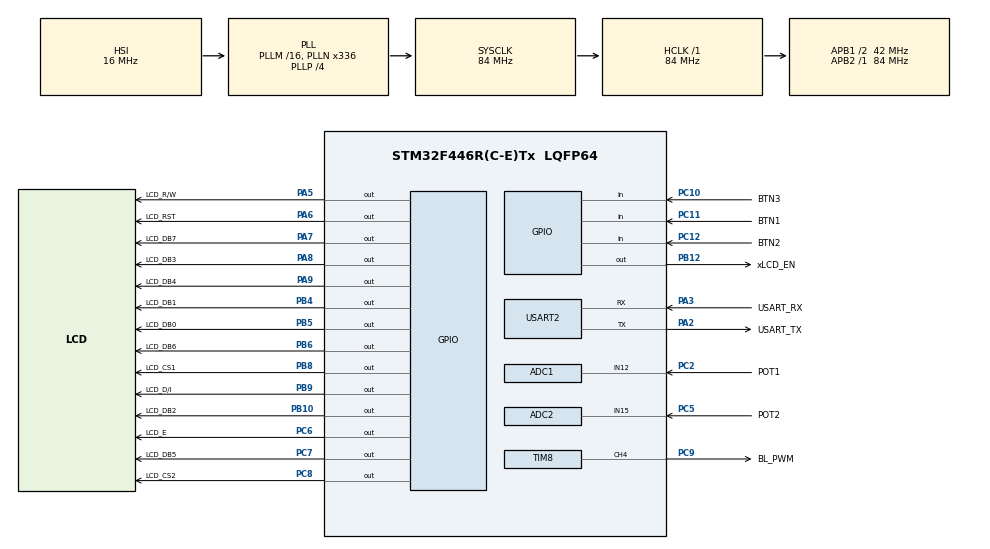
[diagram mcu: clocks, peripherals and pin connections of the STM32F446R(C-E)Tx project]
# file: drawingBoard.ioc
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ADC1.Channel-5\#ChannelRegularConversion=ADC_CHANNEL_12
ADC1.NbrOfConversionFlag=1
ADC1.Rank-5\#ChannelRegularConversion=1
ADC1.SamplingTime-5\#ChannelRegularConversion=ADC_SAMPLETIME_3CYCLES
ADC1.master=1
ADC2.Channel-1\#ChannelRegularConversion=ADC_CHANNEL_15
ADC2.NbrOfConversionFlag=1
ADC2.Rank-1\#ChannelRegularConversion=1
ADC2.SamplingTime-1\#ChannelRegularConversion=ADC_SAMPLETIME_3CYCLES
Mcu.Family=STM32F4
Mcu.Name=STM32F446R(C-E)Tx
Mcu.Package=LQFP64
NVIC.PriorityGroup=NVIC_PRIORITYGROUP_0
PA13.GPIO_Label=TMS
PA13.Mode=Serial_Wire
PA13.Signal=SYS_JTMS-SWDIO
PA14.GPIO_Label=TCK
PA14.Mode=Serial_Wire
PA14.Signal=SYS_JTCK-SWCLK
PA2.GPIO_Label=USART_TX
PA2.Mode=Asynchronous
PA2.Signal=USART2_TX
PA3.GPIO_Label=USART_RX
PA3.Mode=Asynchronous
PA3.Signal=USART2_RX
PA5.GPIO_Label=LCD_R/W
PA5.Signal=GPIO_Output
PA6.GPIO_Label=LCD_RST
PA6.Signal=GPIO_Output
PA7.GPIO_Label=LCD_DB7
PA7.Signal=GPIO_Output
PA8.GPIO_Label=LCD_DB3
PA8.Signal=GPIO_Output
PA9.GPIO_Label=LCD_DB4
PA9.Signal=GPIO_Output
PB10.GPIO_Label=LCD_DB2
PB10.Signal=GPIO_Output
PB12.GPIO_Label=xLCD_EN
PB12.Signal=GPIO_Output
PB3.GPIO_Label=SWO
PB3.Signal=SYS_JTDO-SWO
PB4.GPIO_Label=LCD_DB1
PB4.Signal=GPIO_Output
PB5.GPIO_Label=LCD_DB0
PB5.Signal=GPIO_Output
PB6.GPIO_Label=LCD_DB6
PB6.Signal=GPIO_Output
PB8.GPIO_Label=LCD_CS1
PB8.Signal=GPIO_Output
PB9.GPIO_Label=LCD_D/I
PB9.Signal=GPIO_Output
PC10.GPIO_Label=BTN3
PC10.Signal=GPIO_Input
PC11.GPIO_Label=BTN1
PC11.Signal=GPIO_Input
PC12.GPIO_Label=BTN2
PC12.Signal=GPIO_Input
PC14-OSC32_IN.Mode=LSE-External-Oscillator
PC14-OSC32_IN.Signal=RCC_OSC32_IN
PC15-OSC32_OUT.Mode=LSE-External-Oscillator
PC15-OSC32_OUT.Signal=RCC_OSC32_OUT
PC2.GPIO_Label=POT1
PC2.Signal=ADCx_IN12
PC5.GPIO_Label=POT2
PC5.Signal=ADCx_IN15
PC6.GPIO_Label=LCD_E
PC6.Signal=GPIO_Output
PC7.GPIO_Label=LCD_DB5
PC7.Signal=GPIO_Output
PC8.GPIO_Label=LCD_CS2
PC8.Signal=GPIO_Output
PC9.GPIO_Label=BL_PWM
PC9.Signal=S_TIM8_CH4
PH0-OSC_IN.Mode=HSE-External-Oscillator
PH0-OSC_IN.Signal=RCC_OSC_IN
PH1-OSC_OUT.Mode=HSE-External-Oscillator
PH1-OSC_OUT.Signal=RCC_OSC_OUT
ProjectManager.HeapSize=0x200
ProjectManager.StackSize=0x400
ProjectManager.TargetToolchain=STM32CubeIDE
RCC.48MHZClocksFreq_Value=84000000
RCC.AHBFreq_Value=84000000
RCC.APB1CLKDivider=RCC_HCLK_DIV2
RCC.APB1Freq_Value=42000000
RCC.APB1TimFreq_Value=84000000
RCC.APB2Freq_Value=84000000
RCC.APB2TimFreq_Value=84000000
RCC.CortexFreq_Value=84000000
RCC.FLatency-AdvancedSettings=FLASH_LATENCY_2
RCC.HCLKFreq_Value=84000000
RCC.HSE_VALUE=8000000
RCC.HSI_VALUE=16000000
RCC.PLLN=336
RCC.PLLP=RCC_PLLP_DIV4
RCC.SYSCLKFreq_VALUE=84000000
RCC.SYSCLKSource=RCC_SYSCLKSOURCE_PLLCLK
RCC.USBFreq_Value=168000000
RCC.VCOOutputFreq_Value=336000000
SH.ADCx_IN12.0=ADC1_IN12,IN12
SH.ADCx_IN15.0=ADC2_IN15,IN15
SH.S_TIM8_CH4.0=TIM8_CH4,PWM Generation4 CH4
TIM8.AutoReloadPreload=TIM_AUTORELOAD_PRELOAD_ENABLE
TIM8.Channel-PWM\ Generation4\ CH4=TIM_CHANNEL_4
USART2.VirtualMode=VM_ASYNC
VP_TIM8_VS_ClockSourceINT.Mode=Internal
board=NUCLEO-F446RE

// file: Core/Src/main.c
/* USER CODE BEGIN Header */
/**
 ******************************************************************************
 * @file           : main.c
 * @brief          : Main program body
 ******************************************************************************
 * @attention
 *
 * Copyright (c) 2023 STMicroelectronics.
 * All rights reserved.
 *
 * This software is licensed under terms that can be found in the LICENSE file
 * in the root directory of this software component.
 * If no LICENSE file comes with this software, it is provided AS-IS.
 *
 ******************************************************************************
 */
/* USER CODE END Header */
#include "main.h"

/* USER CODE BEGIN Includes */
#include "RG12864B.h"
#include "stm32f4xx_hal.h"
#include "stm32f4xx_hal_adc.h"
/* USER CODE END Includes */

ADC_HandleTypeDef hadc1;
ADC_HandleTypeDef hadc2;

TIM_HandleTypeDef htim8;

UART_HandleTypeDef huart2;

void SystemClock_Config(void);
static void MX_GPIO_Init(void);
static void MX_ADC1_Init(void);
static void MX_ADC2_Init(void);
static void MX_USART2_UART_Init(void);
static void MX_TIM8_Init(void);

int main(void) {

    /* MCU
     * Configuration--------------------------------------------------------*/

    /* Reset of all peripherals, Initializes the Flash interface and the
     * Systick. */
    HAL_Init();

    /* Configure the system clock */
    SystemClock_Config();

    /* Initialize all configured peripherals */
    MX_GPIO_Init();
    MX_ADC1_Init();
    MX_ADC2_Init();
    MX_USART2_UART_Init();
    MX_TIM8_Init();
    /* USER CODE BEGIN 2 */

    // LCD_Test();
    HAL_TIM_PWM_Start(&htim8, TIM_CHANNEL_4);
    TIM8->CCR4 = 1000; // LCD brightness
    LCD_Init();
    /* USER CODE END 2 */

    /* Infinite loop */
    /* USER CODE BEGIN WHILE */
    int x0, x1, y0, y1;
    LCD_DrawString("Finished\nerasing 1 pages of 16384 (0x4000) bytes", 0, 0);
    while (1) {
        HAL_ADC_Start(&hadc1);
        HAL_ADC_PollForConversion(&hadc1, 0);
        HAL_ADC_Stop(&hadc1);

        HAL_ADC_Start(&hadc2);
        HAL_ADC_PollForConversion(&hadc2, 0);
        HAL_ADC_Stop(&hadc2);

        x0 = ~(HAL_ADC_GetValue(&hadc1) >> 5) & 0x7f;
        y0 = HAL_ADC_GetValue(&hadc2) >> 6;

        // LCD_Clear();
        //if (x0 == x1 && y0 == y1) {
        //    HAL_Delay(50);
        //    LCD_TogglePixel(x0, y0);
        //} else {
            LCD_SetPixel(x0, y0);
        //}
        //x1 = x0;
        //y1 = y0;
        /* USER CODE END WHILE */

    }
}

void SystemClock_Config(void) {
    RCC_OscInitTypeDef RCC_OscInitStruct = {0};
    RCC_ClkInitTypeDef RCC_ClkInitStruct = {0};

    /** Configure the main internal regulator output voltage
     */
    __HAL_RCC_PWR_CLK_ENABLE();
    __HAL_PWR_VOLTAGESCALING_CONFIG(PWR_REGULATOR_VOLTAGE_SCALE3);

    /** Initializes the RCC Oscillators according to the specified parameters
     * in the RCC_OscInitTypeDef structure.
     */
    RCC_OscInitStruct.OscillatorType = RCC_OSCILLATORTYPE_HSI;
    RCC_OscInitStruct.HSIState = RCC_HSI_ON;
    RCC_OscInitStruct.HSICalibrationValue = RCC_HSICALIBRATION_DEFAULT;
    RCC_OscInitStruct.PLL.PLLState = RCC_PLL_ON;
    RCC_OscInitStruct.PLL.PLLSource = RCC_PLLSOURCE_HSI;
    RCC_OscInitStruct.PLL.PLLM = 16;
    RCC_OscInitStruct.PLL.PLLN = 336;
    RCC_OscInitStruct.PLL.PLLP = RCC_PLLP_DIV4;
    RCC_OscInitStruct.PLL.PLLQ = 2;
    RCC_OscInitStruct.PLL.PLLR = 2;
    if (HAL_RCC_OscConfig(&RCC_OscInitStruct) != HAL_OK) {
        Error_Handler();
    }

    /** Initializes the CPU, AHB and APB buses clocks
     */
    RCC_ClkInitStruct.ClockType = RCC_CLOCKTYPE_HCLK | RCC_CLOCKTYPE_SYSCLK |
                                  RCC_CLOCKTYPE_PCLK1 | RCC_CLOCKTYPE_PCLK2;
    RCC_ClkInitStruct.SYSCLKSource = RCC_SYSCLKSOURCE_PLLCLK;
    RCC_ClkInitStruct.AHBCLKDivider = RCC_SYSCLK_DIV1;
    RCC_ClkInitStruct.APB1CLKDivider = RCC_HCLK_DIV2;
    RCC_ClkInitStruct.APB2CLKDivider = RCC_HCLK_DIV1;

    if (HAL_RCC_ClockConfig(&RCC_ClkInitStruct, FLASH_LATENCY_2) != HAL_OK) {
        Error_Handler();
    }
}

static void MX_ADC1_Init(void) {

    ADC_ChannelConfTypeDef sConfig = {0};

    /** Configure the global features of the ADC (Clock, Resolution, Data
     * Alignment and number of conversion)
     */
    hadc1.Instance = ADC1;
    hadc1.Init.ClockPrescaler = ADC_CLOCK_SYNC_PCLK_DIV4;
    hadc1.Init.Resolution = ADC_RESOLUTION_12B;
    hadc1.Init.ScanConvMode = DISABLE;
    hadc1.Init.ContinuousConvMode = DISABLE;
    hadc1.Init.DiscontinuousConvMode = DISABLE;
    hadc1.Init.ExternalTrigConvEdge = ADC_EXTERNALTRIGCONVEDGE_NONE;
    hadc1.Init.ExternalTrigConv = ADC_SOFTWARE_START;
    hadc1.Init.DataAlign = ADC_DATAALIGN_RIGHT;
    hadc1.Init.NbrOfConversion = 1;
    hadc1.Init.DMAContinuousRequests = DISABLE;
    hadc1.Init.EOCSelection = ADC_EOC_SINGLE_CONV;
    if (HAL_ADC_Init(&hadc1) != HAL_OK) {
        Error_Handler();
    }

    /** Configure for the selected ADC regular channel its corresponding rank in
     * the sequencer and its sample time.
     */
    sConfig.Channel = ADC_CHANNEL_12;
    sConfig.Rank = 1;
    sConfig.SamplingTime = ADC_SAMPLETIME_3CYCLES;
    if (HAL_ADC_ConfigChannel(&hadc1, &sConfig) != HAL_OK) {
        Error_Handler();
    }
}

static void MX_ADC2_Init(void) {

    ADC_ChannelConfTypeDef sConfig = {0};

    /** Configure the global features of the ADC (Clock, Resolution, Data
     * Alignment and number of conversion)
     */
    hadc2.Instance = ADC2;
    hadc2.Init.ClockPrescaler = ADC_CLOCK_SYNC_PCLK_DIV4;
    hadc2.Init.Resolution = ADC_RESOLUTION_12B;
    hadc2.Init.ScanConvMode = DISABLE;
    hadc2.Init.ContinuousConvMode = DISABLE;
    hadc2.Init.DiscontinuousConvMode = DISABLE;
    hadc2.Init.ExternalTrigConvEdge = ADC_EXTERNALTRIGCONVEDGE_NONE;
    hadc2.Init.ExternalTrigConv = ADC_SOFTWARE_START;
    hadc2.Init.DataAlign = ADC_DATAALIGN_RIGHT;
    hadc2.Init.NbrOfConversion = 1;
    hadc2.Init.DMAContinuousRequests = DISABLE;
    hadc2.Init.EOCSelection = ADC_EOC_SINGLE_CONV;
    if (HAL_ADC_Init(&hadc2) != HAL_OK) {
        Error_Handler();
    }

    /** Configure for the selected ADC regular channel its corresponding rank in
     * the sequencer and its sample time.
     */
    sConfig.Channel = ADC_CHANNEL_15;
    sConfig.Rank = 1;
    sConfig.SamplingTime = ADC_SAMPLETIME_3CYCLES;
    if (HAL_ADC_ConfigChannel(&hadc2, &sConfig) != HAL_OK) {
        Error_Handler();
    }
}

static void MX_TIM8_Init(void) {

    TIM_ClockConfigTypeDef sClockSourceConfig = {0};
    TIM_MasterConfigTypeDef sMasterConfig = {0};
    TIM_OC_InitTypeDef sConfigOC = {0};
    TIM_BreakDeadTimeConfigTypeDef sBreakDeadTimeConfig = {0};

    htim8.Instance = TIM8;
    htim8.Init.Prescaler = 0;
    htim8.Init.CounterMode = TIM_COUNTERMODE_UP;
    htim8.Init.Period = 65535;
    htim8.Init.ClockDivision = TIM_CLOCKDIVISION_DIV1;
    htim8.Init.RepetitionCounter = 0;
    htim8.Init.AutoReloadPreload = TIM_AUTORELOAD_PRELOAD_ENABLE;
    if (HAL_TIM_Base_Init(&htim8) != HAL_OK) {
        Error_Handler();
    }
    sClockSourceConfig.ClockSource = TIM_CLOCKSOURCE_INTERNAL;
    if (HAL_TIM_ConfigClockSource(&htim8, &sClockSourceConfig) != HAL_OK) {
        Error_Handler();
    }
    if (HAL_TIM_PWM_Init(&htim8) != HAL_OK) {
        Error_Handler();
    }
    sMasterConfig.MasterOutputTrigger = TIM_TRGO_RESET;
    sMasterConfig.MasterSlaveMode = TIM_MASTERSLAVEMODE_DISABLE;
    if (HAL_TIMEx_MasterConfigSynchronization(&htim8, &sMasterConfig) !=
        HAL_OK) {
        Error_Handler();
    }
    sConfigOC.OCMode = TIM_OCMODE_PWM1;
    sConfigOC.Pulse = 0;
    sConfigOC.OCPolarity = TIM_OCPOLARITY_HIGH;
    sConfigOC.OCFastMode = TIM_OCFAST_DISABLE;
    sConfigOC.OCIdleState = TIM_OCIDLESTATE_RESET;
    sConfigOC.OCNIdleState = TIM_OCNIDLESTATE_RESET;
    if (HAL_TIM_PWM_ConfigChannel(&htim8, &sConfigOC, TIM_CHANNEL_4) !=
        HAL_OK) {
        Error_Handler();
    }
    sBreakDeadTimeConfig.OffStateRunMode = TIM_OSSR_DISABLE;
    sBreakDeadTimeConfig.OffStateIDLEMode = TIM_OSSI_DISABLE;
    sBreakDeadTimeConfig.LockLevel = TIM_LOCKLEVEL_OFF;
    sBreakDeadTimeConfig.DeadTime = 0;
    sBreakDeadTimeConfig.BreakState = TIM_BREAK_DISABLE;
    sBreakDeadTimeConfig.BreakPolarity = TIM_BREAKPOLARITY_HIGH;
    sBreakDeadTimeConfig.AutomaticOutput = TIM_AUTOMATICOUTPUT_DISABLE;
    if (HAL_TIMEx_ConfigBreakDeadTime(&htim8, &sBreakDeadTimeConfig) !=
        HAL_OK) {
        Error_Handler();
    }
    HAL_TIM_MspPostInit(&htim8);
}

static void MX_USART2_UART_Init(void) {

    huart2.Instance = USART2;
    huart2.Init.BaudRate = 115200;
    huart2.Init.WordLength = UART_WORDLENGTH_8B;
    huart2.Init.StopBits = UART_STOPBITS_1;
    huart2.Init.Parity = UART_PARITY_NONE;
    huart2.Init.Mode = UART_MODE_TX_RX;
    huart2.Init.HwFlowCtl = UART_HWCONTROL_NONE;
    huart2.Init.OverSampling = UART_OVERSAMPLING_16;
    if (HAL_UART_Init(&huart2) != HAL_OK) {
        Error_Handler();
    }
}

static void MX_GPIO_Init(void) {
    GPIO_InitTypeDef GPIO_InitStruct = {0};

    /* GPIO Ports Clock Enable */
    __HAL_RCC_GPIOC_CLK_ENABLE();
    __HAL_RCC_GPIOH_CLK_ENABLE();
    __HAL_RCC_GPIOA_CLK_ENABLE();
    __HAL_RCC_GPIOB_CLK_ENABLE();

    /*Configure GPIO pin Output Level */
    HAL_GPIO_WritePin(
        GPIOA,
        LCD_R_W_Pin | LCD_RST_Pin | LCD_DB7_Pin | LCD_DB3_Pin | LCD_DB4_Pin,
        GPIO_PIN_RESET);

    /*Configure GPIO pin Output Level */
    HAL_GPIO_WritePin(GPIOB,
                      LCD_DB2_Pin | xLCD_EN_Pin | LCD_DB1_Pin | LCD_DB0_Pin |
                          LCD_DB6_Pin | LCD_CS1_Pin | LCD_D_I_Pin,
                      GPIO_PIN_RESET);

    /*Configure GPIO pin Output Level */
    HAL_GPIO_WritePin(GPIOC, LCD_E_Pin | LCD_DB5_Pin | LCD_CS2_Pin,
                      GPIO_PIN_RESET);

    /*Configure GPIO pins : LCD_R_W_Pin LCD_RST_Pin LCD_DB7_Pin LCD_DB3_Pin
                             LCD_DB4_Pin */
    GPIO_InitStruct.Pin =
        LCD_R_W_Pin | LCD_RST_Pin | LCD_DB7_Pin | LCD_DB3_Pin | LCD_DB4_Pin;
    GPIO_InitStruct.Mode = GPIO_MODE_OUTPUT_PP;
    GPIO_InitStruct.Pull = GPIO_NOPULL;
    GPIO_InitStruct.Speed = GPIO_SPEED_FREQ_LOW;
    HAL_GPIO_Init(GPIOA, &GPIO_InitStruct);

    /*Configure GPIO pins : LCD_DB2_Pin xLCD_EN_Pin LCD_DB1_Pin LCD_DB0_Pin
                             LCD_DB6_Pin LCD_CS1_Pin LCD_D_I_Pin */
    GPIO_InitStruct.Pin = LCD_DB2_Pin | xLCD_EN_Pin | LCD_DB1_Pin |
                          LCD_DB0_Pin | LCD_DB6_Pin | LCD_CS1_Pin | LCD_D_I_Pin;
    GPIO_InitStruct.Mode = GPIO_MODE_OUTPUT_PP;
    GPIO_InitStruct.Pull = GPIO_NOPULL;
    GPIO_InitStruct.Speed = GPIO_SPEED_FREQ_LOW;
    HAL_GPIO_Init(GPIOB, &GPIO_InitStruct);

    /*Configure GPIO pins : LCD_E_Pin LCD_DB5_Pin LCD_CS2_Pin */
    GPIO_InitStruct.Pin = LCD_E_Pin | LCD_DB5_Pin | LCD_CS2_Pin;
    GPIO_InitStruct.Mode = GPIO_MODE_OUTPUT_PP;
    GPIO_InitStruct.Pull = GPIO_NOPULL;
    GPIO_InitStruct.Speed = GPIO_SPEED_FREQ_LOW;
    HAL_GPIO_Init(GPIOC, &GPIO_InitStruct);

    /*Configure GPIO pins : BTN3_Pin BTN1_Pin BTN2_Pin */
    GPIO_InitStruct.Pin = BTN3_Pin | BTN1_Pin | BTN2_Pin;
    GPIO_InitStruct.Mode = GPIO_MODE_INPUT;
    GPIO_InitStruct.Pull = GPIO_NOPULL;
    HAL_GPIO_Init(GPIOC, &GPIO_InitStruct);

}

void Error_Handler(void) {
    /* USER CODE BEGIN Error_Handler_Debug */
    /* User can add his own implementation to report the HAL error return state
     */
    __disable_irq();
    while (1) {
    }
    /* USER CODE END Error_Handler_Debug */
}

#ifdef USE_FULL_ASSERT
/**
 * @brief  Reports the name of the source file and the source line number
 *         where the assert_param error has occurred.
 * @param  file: pointer to the source file name
 * @param  line: assert_param error line source number
 * @retval None
 */
void assert_failed(uint8_t *file, uint32_t line) {
    /* USER CODE BEGIN 6 */
    /* User can add his own implementation to report the file name and line
       number,
       //ex: printf("Wrong parameters value: file %s on line %d\r\n", file,
       line) */
    /* USER CODE END 6 */
}
#endif /* USE_FULL_ASSERT */
